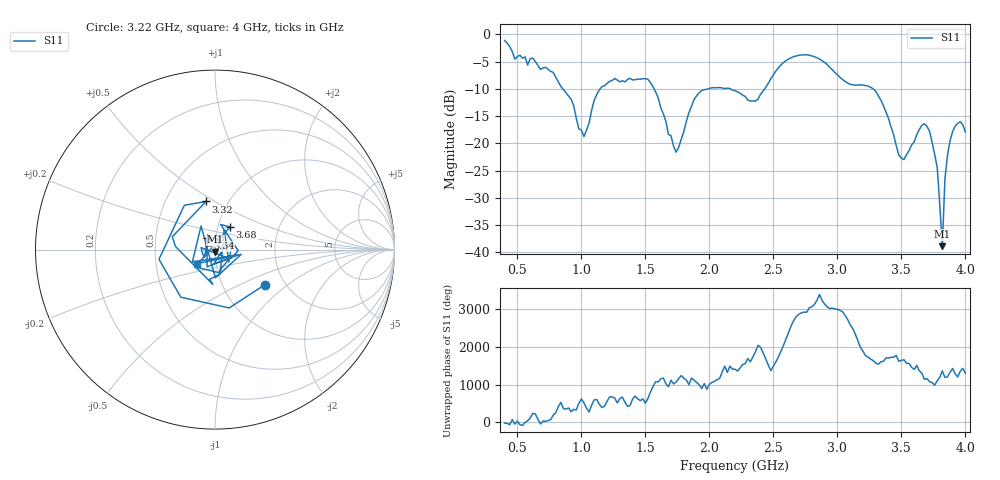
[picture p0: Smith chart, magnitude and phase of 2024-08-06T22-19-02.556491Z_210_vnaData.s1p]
!Created with skrf (http://scikit-rf.org).
# Hz S RI R 50.0
!freq ReS11 ImS11
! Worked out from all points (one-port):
!   181 points, 400 MHz to 4 GHz, reference 50 ohm
!   lowest |S11| = -38.9 dB at 3.82 GHz (marker M1), VSWR 1.02, Z = 50.2 - j1.13 ohm
!   |S11| at or under -10 dB: 854.7 MHz to 1.146 GHz (291.6 MHz wide, 29.2 % of centre); 1.568 GHz to 1.991 GHz (423.3 MHz wide, 23.8 % of centre); 3.281 GHz to end of sweep (the widest 3 of 4)
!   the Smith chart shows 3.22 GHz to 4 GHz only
!   S11 on the Smith chart (normalised r, x): 3.22 GHz: 1.58, -0.70; 3.32 GHz: 0.79, +0.46; 3.54 GHz: 0.91, +0.12; 3.68 GHz: 1.14, +0.30; 4 GHz: 0.81, -0.13
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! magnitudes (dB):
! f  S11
! 400 MHz  -1.1
! 480 MHz  -4.5
! 860 MHz  -10.2
! 1.02 GHz  -18.7
! 1.14 GHz  -10.2
! 1.3 GHz  -8.7
! 1.52 GHz  -8.3
! 1.74 GHz  -21.6
! 1.76 GHz  -20.7
! 1.92 GHz  -10.7
! 2.2 GHz  -10.3
! 2.36 GHz  -12.2
! 2.66 GHz  -4.1
! 2.86 GHz  -4.5
! 3.1 GHz  -9.2
! 3.22 GHz  -9.4
! 3.32 GHz  -11.3
! 3.48 GHz  -22.1
! 3.54 GHz  -22.1
! 3.56 GHz  -21.3
! 3.68 GHz  -16.4
! 3.72 GHz  -17.7
! 3.78 GHz  -24.5
! 3.82 GHz  -38.9
! 3.84 GHz  -26.6
! 3.88 GHz  -19.5
! 3.96 GHz  -16.0
! 4 GHz  -17.9
